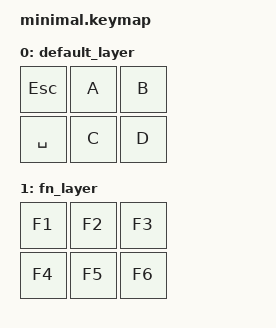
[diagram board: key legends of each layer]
/ {
  keymap {
    compatible = "zmk,keymap";

    default_layer {
      bindings = <
        &kp ESC   &kp A   &kp B
        &kp SPACE &kp C   &kp D
      >;
    };

    fn_layer {
      bindings = <
        &kp F1  &kp F2  &kp F3
        &kp F4  &kp F5  &kp F6
      >;
    };
  };
};
